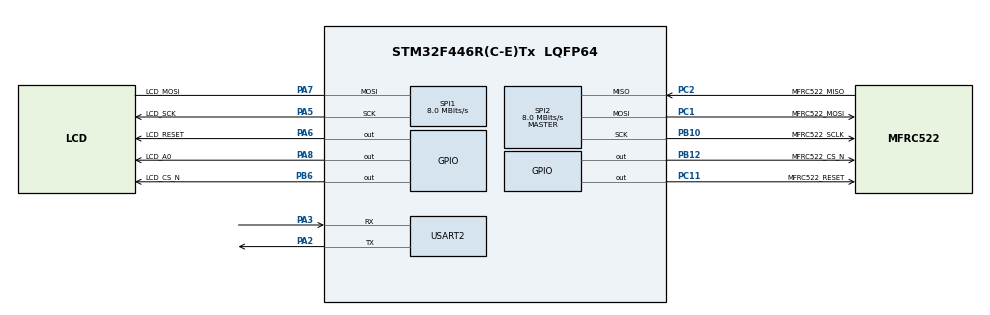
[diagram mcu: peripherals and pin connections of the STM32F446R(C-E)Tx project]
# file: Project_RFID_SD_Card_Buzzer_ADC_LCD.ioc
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Mcu.Family=STM32F4
Mcu.Name=STM32F446R(C-E)Tx
Mcu.Package=LQFP64
NVIC.PriorityGroup=NVIC_PRIORITYGROUP_4
PA2.Mode=Asynchronous
PA2.Signal=USART2_TX
PA3.Mode=Asynchronous
PA3.Signal=USART2_RX
PA5.GPIO_Label=LCD_SCK
PA5.Mode=Simplex_Bidirectional_Master
PA5.Signal=SPI1_SCK
PA6.GPIO_Label=LCD_RESET
PA6.Signal=GPIO_Output
PA7.GPIO_Label=LCD_MOSI
PA7.Mode=Simplex_Bidirectional_Master
PA7.Signal=SPI1_MOSI
PA8.GPIO_Label=LCD_A0
PA8.Signal=GPIO_Output
PB10.GPIO_Label=MFRC522_SCLK
PB10.Mode=Full_Duplex_Master
PB10.Signal=SPI2_SCK
PB12.GPIO_Label=MFRC522_CS_N
PB12.Signal=GPIO_Output
PB6.GPIO_Label=LCD_CS_N
PB6.Signal=GPIO_Output
PC1.GPIO_Label=MFRC522_MOSI
PC1.Mode=Full_Duplex_Master
PC1.Signal=SPI2_MOSI
PC11.GPIO_Label=MFRC522_RESET
PC11.Signal=GPIO_Output
PC2.GPIO_Label=MFRC522_MISO
PC2.Mode=Full_Duplex_Master
PC2.Signal=SPI2_MISO
ProjectManager.HeapSize=0x200
ProjectManager.StackSize=0x400
ProjectManager.TargetToolchain=STM32CubeIDE
RCC.CortexFreq_Value=16000000
RCC.USBFreq_Value=96000000
RCC.VCOOutputFreq_Value=192000000
SPI1.CalculateBaudRate=8.0 MBits/s
SPI1.Direction=SPI_DIRECTION_1LINE
SPI1.Mode=SPI_MODE_MASTER
SPI1.VirtualType=VM_MASTER
SPI2.CalculateBaudRate=8.0 MBits/s
SPI2.Direction=SPI_DIRECTION_2LINES
SPI2.Mode=SPI_MODE_MASTER
SPI2.VirtualType=VM_MASTER
USART2.VirtualMode=VM_ASYNC
board=custom

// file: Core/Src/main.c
/* USER CODE BEGIN Header */
/**
 ******************************************************************************
 * @file           : main.c
 * @brief          : Main program body
 ******************************************************************************
 * @attention
 *
 * Copyright (c) 2024 STMicroelectronics.
 * All rights reserved.
 *
 * This software is licensed under terms that can be found in the LICENSE file
 * in the root directory of this software component.
 * If no LICENSE file comes with this software, it is provided AS-IS.
 *
 ******************************************************************************
 */
/* USER CODE END Header */
#include "main.h"
#include "spi.h"
#include "usart.h"
#include "gpio.h"

/* USER CODE BEGIN Includes */

#include "stdio.h"
#include "lcd_driver.h"
#include "MFRC522_Driver.h"
#include <string.h>

/* USER CODE END Includes */

void SystemClock_Config(void);
/* USER CODE BEGIN PFP */
int _write(int fd, char*file, int len);
void lcd_initialize(void);

/* USER CODE END PFP */

/* USER CODE BEGIN 0 */
uint8_t readValue;
void HAL_ReadCardUIDAndReadBlocks();
void HAL_WriteToBlocks();

/* USER CODE END 0 */

int main(void)
{

	/* MCU Configuration--------------------------------------------------------*/

	/* Reset of all peripherals, Initializes the Flash interface and the Systick. */
	HAL_Init();

	/* Configure the system clock */
	SystemClock_Config();

	/* Initialize all configured peripherals */
	MX_GPIO_Init();
	MX_USART2_UART_Init();
	MX_SPI1_Init();
	MX_SPI2_Init();
	/* USER CODE BEGIN 2 */

	// Initialize the LCD
	lcd_initialize();

	//Initialize PCD
	PCD_Init();
	printf("Checking for cards...\n");
	HAL_ReadCardUIDAndReadBlocks();
	HAL_WriteToBlocks();

	/* USER CODE END 2 */

	/* Infinite loop */
	/* USER CODE BEGIN WHILE */
	while (1)
	{
		// Write a value to the register

		HAL_Delay(1000);

		/* USER CODE END WHILE */

		/* USER CODE BEGIN 3 */
		//printf("This is how it starts\n\r");
	}
	/* USER CODE END 3 */
}

void SystemClock_Config(void)
{
	RCC_OscInitTypeDef RCC_OscInitStruct = {0};
	RCC_ClkInitTypeDef RCC_ClkInitStruct = {0};

	/** Configure the main internal regulator output voltage
	 */
	__HAL_RCC_PWR_CLK_ENABLE();
	__HAL_PWR_VOLTAGESCALING_CONFIG(PWR_REGULATOR_VOLTAGE_SCALE3);

	/** Initializes the RCC Oscillators according to the specified parameters
	 * in the RCC_OscInitTypeDef structure.
	 */
	RCC_OscInitStruct.OscillatorType = RCC_OSCILLATORTYPE_HSI;
	RCC_OscInitStruct.HSIState = RCC_HSI_ON;
	RCC_OscInitStruct.HSICalibrationValue = RCC_HSICALIBRATION_DEFAULT;
	RCC_OscInitStruct.PLL.PLLState = RCC_PLL_NONE;
	if (HAL_RCC_OscConfig(&RCC_OscInitStruct) != HAL_OK)
	{
		Error_Handler();
	}

	/** Initializes the CPU, AHB and APB buses clocks
	 */
	RCC_ClkInitStruct.ClockType = RCC_CLOCKTYPE_HCLK|RCC_CLOCKTYPE_SYSCLK
			|RCC_CLOCKTYPE_PCLK1|RCC_CLOCKTYPE_PCLK2;
	RCC_ClkInitStruct.SYSCLKSource = RCC_SYSCLKSOURCE_HSI;
	RCC_ClkInitStruct.AHBCLKDivider = RCC_SYSCLK_DIV1;
	RCC_ClkInitStruct.APB1CLKDivider = RCC_HCLK_DIV1;
	RCC_ClkInitStruct.APB2CLKDivider = RCC_HCLK_DIV1;

	if (HAL_RCC_ClockConfig(&RCC_ClkInitStruct, FLASH_LATENCY_0) != HAL_OK)
	{
		Error_Handler();
	}
}

/* USER CODE BEGIN 4 */

// printf Inclusion on Screen for Debugging
int _write(int fd, char*ptr, int len)
{
	if(HAL_UART_Transmit(&huart2, (uint8_t *)ptr, len, HAL_MAX_DELAY)== HAL_OK)
		return len;
	else
		return -1;
}

// Initialize the LCD_Driver in a few lines

void lcd_initialize(void)
{
	lcd_init();
	lcd_clear();
	// Set it to some line
	lcd_setLine(127, 0, 127, 31, 1);
	lcd_setLine(0, 0, 0, 31, 1);
	lcd_setString(4, 3, "System Initialization Test ", LCD_FONT_8, false);
	lcd_setString(4, 15, "I2C connection Done", LCD_FONT_8, false);
	lcd_setString(4, 25, "Accelerometer connection Done", LCD_FONT_8, false);
	lcd_show();
	HAL_Delay(2500);
	lcd_clear();

	puts("******** LETS PRACTICE ******** \r\n");
	puts("- Uart connection ... Done\r\n");
	puts("- printf retargeting to uart ... Done\r\n");
	puts("- Temperature Sensor connection ... Done\r\n");
	puts("***************************** \r\n");
}

// Test the Registers

void HAL_ReadCardUIDAndReadBlocks() {
    Uid uid;
    MIFARE_Key key = { {0xFF, 0xFF, 0xFF, 0xFF, 0xFF, 0xFF} }; // Default key
    uint8_t buffer[18];
    uint8_t bufferSize = sizeof(buffer);
    uint8_t status;

    printf("Starting RFID card detection and block reading...\n");

    // Check for a new card
    if (!PICC_IsNewCardPresent()) {
        printf("No new card detected.\n");
        return;
    }

    if (!PICC_ReadCardSerial(&uid)) {
        printf("Failed to read card serial.\n");
        return;
    }

    // Output UID
    printf("Card UID: ");
    for (uint8_t i = 0; i < uid.size; i++) {
        printf("%02X ", uid.uidByte[i]);
    }
    printf("\n");

    // Authenticate and read block 4
    printf("Authenticating block 4...\n");
    status = PCD_Authenticate(PICC_CMD_MF_AUTH_KEY_A, 4, &key, &uid);
    if (status != STATUS_OK) {
        printf("Authentication failed for block 4: %s\n", GetStatusCodeName(status));
        PCD_StopCrypto1();
        return;
    }

    printf("Reading block 4...\n");
    status = MIFARE_Read(4, buffer, &bufferSize);
    if (status != STATUS_OK) {
        printf("Read failed for block 4: %s\n", GetStatusCodeName(status));
        PCD_StopCrypto1();
        return;
    }

    printf("Block 4 Data: ");
    for (uint8_t i = 0; i < bufferSize; i++) {
        printf("%02X ", buffer[i]);
    }
    printf("\n");

    // Authenticate and read block 7
    printf("Authenticating block 7...\n");
    status = PCD_Authenticate(PICC_CMD_MF_AUTH_KEY_A, 7, &key, &uid);
    if (status != STATUS_OK) {
        printf("Authentication failed for block 7: %s\n", GetStatusCodeName(status));
        PCD_StopCrypto1();
        return;
    }

    printf("Reading block 7...\n");
    bufferSize = sizeof(buffer); // Reset buffer size
    status = MIFARE_Read(7, buffer, &bufferSize);
    if (status != STATUS_OK) {
        printf("Read failed for block 7: %s\n", GetStatusCodeName(status));
        PCD_StopCrypto1();
        return;
    }

    printf("Block 7 Data: ");
    for (uint8_t i = 0; i < bufferSize; i++) {
        printf("%02X ", buffer[i]);
    }
    printf("\n");

    // Stop crypto operations
    PCD_StopCrypto1();
    printf("Finished reading blocks 4 and 7.\n");
}

void HAL_WriteToBlocks() {
    Uid uid;
    MIFARE_Key key = { {0xFF, 0xFF, 0xFF, 0xFF, 0xFF, 0xFF} }; // Default key
    uint8_t writeBufferBlock5[16] = {
            'S', 'e', 's', 's', 'i', 'o', 'n', 's',
            ' ', '2', ' ', ' ', ' ', ' ', ' ', ' '
    }; // Data for block 5: "Sessions 2"
    uint8_t status;

    printf("Starting RFID card detection and block writing...");

    // Check for a new card
    if (!PICC_IsNewCardPresent()) {
        printf("No new card detected.");
        return;
    }

    if (!PICC_ReadCardSerial(&uid)) {
        printf("Failed to read card serial.");
        return;
    }

    // Output UID
    printf("Card UID: ");
    for (uint8_t i = 0; i < uid.size; i++) {
        printf("%02X ", uid.uidByte[i]);
    }
    printf("\n");

    // Authenticate and write to block 7
    printf("Authenticating block 7...");
    status = PCD_Authenticate(PICC_CMD_MF_AUTH_KEY_A, 7, &key, &uid);
    if (status != STATUS_OK) {
        printf("Authentication failed for block 7: %s", GetStatusCodeName(status));
        PCD_StopCrypto1();
        return;
    }

    printf("Writing to block 7...");
    status = MIFARE_Write(7, writeBufferBlock5, sizeof(writeBufferBlock5));
    if (status != STATUS_OK) {
        printf("Write failed for block 7: %s", GetStatusCodeName(status));
        PCD_StopCrypto1();
        return;
    }

    printf("Data written successfully to block 7.");

    // Stop crypto operations
    PCD_StopCrypto1();
    printf("Finished writing to block 7.");
}

/* USER CODE END 4 */

void Error_Handler(void)
{
	__disable_irq();
	while (1)
	{
	}
}
